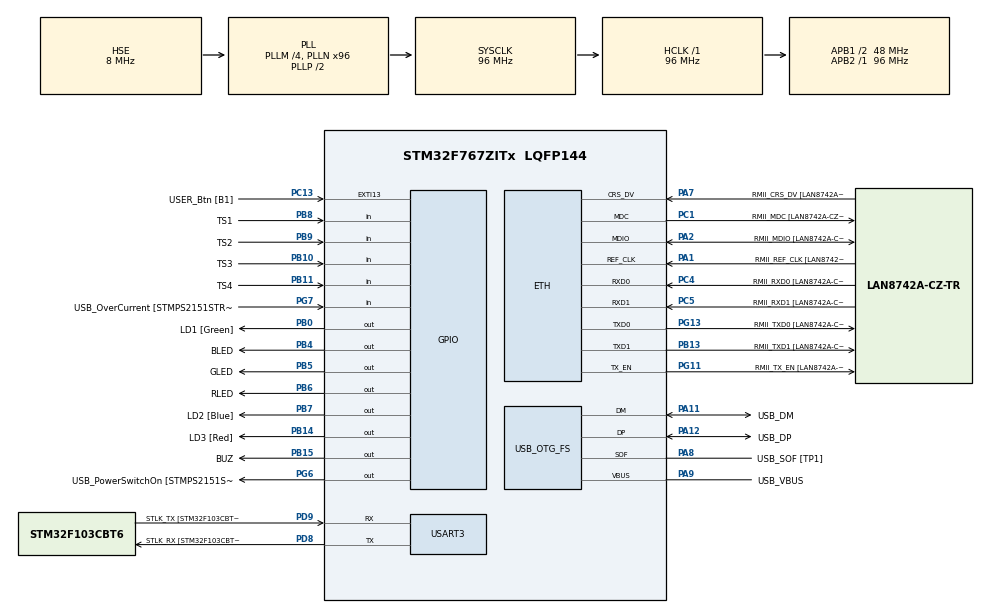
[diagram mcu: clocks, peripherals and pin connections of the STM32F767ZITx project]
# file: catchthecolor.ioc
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ETH.MediaInterface=HAL_ETH_RMII_MODE
ETH.PHY_Name=LAN8742A_PHY_ADDRESS
ETH.PHY_Value=0
ETH.PhyAddress=0
Mcu.Family=STM32F7
Mcu.Name=STM32F767ZITx
Mcu.Package=LQFP144
NVIC.PriorityGroup=NVIC_PRIORITYGROUP_4
PA1.GPIO_Label=RMII_REF_CLK [LAN8742A-CZ-TR_REFCLK0]
PA1.Mode=RMII
PA1.Signal=ETH_REF_CLK
PA10.GPIO_Label=USB_ID
PA10.Signal=USB_OTG_FS_ID
PA11.GPIO_Label=USB_DM
PA11.Mode=Device_Only
PA11.Signal=USB_OTG_FS_DM
PA12.GPIO_Label=USB_DP
PA12.Mode=Device_Only
PA12.Signal=USB_OTG_FS_DP
PA13.GPIO_Label=TMS
PA13.Mode=Serial_Wire
PA13.Signal=SYS_JTMS-SWDIO
PA14.GPIO_Label=TCK
PA14.Mode=Serial_Wire
PA14.Signal=SYS_JTCK-SWCLK
PA2.GPIO_Label=RMII_MDIO [LAN8742A-CZ-TR_MDIO]
PA2.Mode=RMII
PA2.Signal=ETH_MDIO
PA7.GPIO_Label=RMII_CRS_DV [LAN8742A-CZ-TR_CRS_DV]
PA7.Mode=RMII
PA7.Signal=ETH_CRS_DV
PA8.GPIO_Label=USB_SOF [TP1]
PA8.Mode=Activate_SOF_FS
PA8.Signal=USB_OTG_FS_SOF
PA9.GPIO_Label=USB_VBUS
PA9.Mode=Activate_VBUS
PA9.Signal=USB_OTG_FS_VBUS
PB0.GPIO_Label=LD1 [Green]
PB0.Signal=GPIO_Output
PB10.GPIO_Label=TS3
PB10.Signal=GPIO_Input
PB11.GPIO_Label=TS4
PB11.Signal=GPIO_Input
PB13.GPIO_Label=RMII_TXD1 [LAN8742A-CZ-TR_TXD1]
PB13.Mode=RMII
PB13.Signal=ETH_TXD1
PB14.GPIO_Label=LD3 [Red]
PB14.Signal=GPIO_Output
PB15.GPIO_Label=BUZ
PB15.Signal=GPIO_Output
PB3.GPIO_Label=SWO
PB3.Signal=SYS_JTDO-SWO
PB4.GPIO_Label=BLED
PB4.Signal=GPIO_Output
PB5.GPIO_Label=GLED
PB5.Signal=GPIO_Output
PB6.GPIO_Label=RLED
PB6.Signal=GPIO_Output
PB7.GPIO_Label=LD2 [Blue]
PB7.Signal=GPIO_Output
PB8.GPIO_Label=TS1
PB8.Signal=GPIO_Input
PB9.GPIO_Label=TS2
PB9.Signal=GPIO_Input
PC1.GPIO_Label=RMII_MDC [LAN8742A-CZ-TR_MDC]
PC1.Mode=RMII
PC1.Signal=ETH_MDC
PC13.GPIO_Label=USER_Btn [B1]
PC13.Signal=GPXTI13
PC14/OSC32_IN.Mode=LSE-External-Oscillator
PC14/OSC32_IN.Signal=RCC_OSC32_IN
PC15/OSC32_OUT.Mode=LSE-External-Oscillator
PC15/OSC32_OUT.Signal=RCC_OSC32_OUT
PC4.GPIO_Label=RMII_RXD0 [LAN8742A-CZ-TR_RXD0]
PC4.Mode=RMII
PC4.Signal=ETH_RXD0
PC5.GPIO_Label=RMII_RXD1 [LAN8742A-CZ-TR_RXD1]
PC5.Mode=RMII
PC5.Signal=ETH_RXD1
PD8.GPIO_Label=STLK_RX [STM32F103CBT6_PA3]
PD8.Mode=Asynchronous
PD8.Signal=USART3_TX
PD9.GPIO_Label=STLK_TX [STM32F103CBT6_PA2]
PD9.Mode=Asynchronous
PD9.Signal=USART3_RX
PG11.GPIO_Label=RMII_TX_EN [LAN8742A-CZ-TR_TXEN]
PG11.Mode=RMII
PG11.Signal=ETH_TX_EN
PG13.GPIO_Label=RMII_TXD0 [LAN8742A-CZ-TR_TXD0]
PG13.Mode=RMII
PG13.Signal=ETH_TXD0
PG6.GPIO_Label=USB_PowerSwitchOn [STMPS2151STR_EN]
PG6.Signal=GPIO_Output
PG7.GPIO_Label=USB_OverCurrent [STMPS2151STR_FAULT]
PG7.Signal=GPIO_Input
PH0/OSC_IN.GPIO_Label=MCO [STM32F103CBT6_PA8]
PH0/OSC_IN.Mode=HSE-External-Clock-Source
PH0/OSC_IN.Signal=RCC_OSC_IN
PH1/OSC_OUT.Mode=HSE-External-Clock-Source
PH1/OSC_OUT.Signal=RCC_OSC_OUT
ProjectManager.HeapSize=0x200
ProjectManager.StackSize=0x400
ProjectManager.TargetToolchain=STM32CubeIDE
RCC.48MHZClocksFreq_Value=24000000
RCC.AHBFreq_Value=96000000
RCC.APB1CLKDivider=RCC_HCLK_DIV2
RCC.APB1Freq_Value=48000000
RCC.APB1TimFreq_Value=96000000
RCC.APB2Freq_Value=96000000
RCC.APB2TimFreq_Value=96000000
RCC.CortexFreq_Value=96000000
RCC.HCLKFreq_Value=96000000
RCC.HSE_VALUE=8000000
RCC.HSI_VALUE=16000000
RCC.PLLM=4
RCC.PLLMUL=RCC_PLL_MUL9
RCC.PLLN=96
RCC.PLLQ=4
RCC.PRESCALERUSB=RCC_USBCLKSOURCE_PLL_DIV1_5
RCC.SYSCLKFreq_VALUE=96000000
RCC.SYSCLKSource=RCC_SYSCLKSOURCE_PLLCLK
RCC.SYSCLKSourceVirtual=RCC_SYSCLKSOURCE_PLLCLK
RCC.USBFreq_Value=48000000
RCC.VCOOutputFreq_Value=192000000
USART3.VirtualMode-Asynchronous=VM_ASYNC
USB_OTG_FS.VirtualMode=Device_Only
board=NUCLEO-F767ZI

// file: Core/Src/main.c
/* USER CODE BEGIN Header */
/**
  ******************************************************************************
  * @file           : main.c
  * @brief          : Main program body
  ******************************************************************************
  * @attention
  *
  * Copyright (c) 2025 STMicroelectronics.
  * All rights reserved.
  *
  * This software is licensed under terms that can be found in the LICENSE file
  * in the root directory of this software component.
  * If no LICENSE file comes with this software, it is provided AS-IS.
  *
  ******************************************************************************
  */
/* USER CODE END Header */
#include "main.h"
#include "string.h"

/* USER CODE BEGIN Includes */

#include "stm32f7xx.h"
#include "stdint.h"

/* USER CODE END Includes */

/* USER CODE BEGIN PTD */

uint16_t random_number;
uint16_t delay_time;
uint16_t count_number;
uint16_t control_number;

/* USER CODE END PTD */

/* USER CODE BEGIN PD */

#define PLL_M      16
#define PLL_N      192
#define PLL_P      2
#define PLL_Q      4

/* USER CODE END PD */

#if defined ( __ICCARM__ ) /*!< IAR Compiler */
#pragma location=0x2007c000
ETH_DMADescTypeDef  DMARxDscrTab[ETH_RX_DESC_CNT]; /* Ethernet Rx DMA Descriptors */
#pragma location=0x2007c0a0
ETH_DMADescTypeDef  DMATxDscrTab[ETH_TX_DESC_CNT]; /* Ethernet Tx DMA Descriptors */

#elif defined ( __CC_ARM )  /* MDK ARM Compiler */

__attribute__((at(0x2007c000))) ETH_DMADescTypeDef  DMARxDscrTab[ETH_RX_DESC_CNT]; /* Ethernet Rx DMA Descriptors */
__attribute__((at(0x2007c0a0))) ETH_DMADescTypeDef  DMATxDscrTab[ETH_TX_DESC_CNT]; /* Ethernet Tx DMA Descriptors */

#elif defined ( __GNUC__ ) /* GNU Compiler */

ETH_DMADescTypeDef DMARxDscrTab[ETH_RX_DESC_CNT] __attribute__((section(".RxDecripSection"))); /* Ethernet Rx DMA Descriptors */
ETH_DMADescTypeDef DMATxDscrTab[ETH_TX_DESC_CNT] __attribute__((section(".TxDecripSection")));   /* Ethernet Tx DMA Descriptors */
#endif

ETH_TxPacketConfig TxConfig;

ETH_HandleTypeDef heth;

UART_HandleTypeDef huart3;

PCD_HandleTypeDef hpcd_USB_OTG_FS;

void SystemClock_Config(void);
static void MX_GPIO_Init(void);
static void MX_ETH_Init(void);
static void MX_USART3_UART_Init(void);
static void MX_USB_OTG_FS_PCD_Init(void);

int main(void)
{

  /* MCU Configuration--------------------------------------------------------*/

  /* Reset of all peripherals, Initializes the Flash interface and the Systick. */
  HAL_Init();

  /* Configure the system clock */
  SystemClock_Config();

  /* Initialize all configured peripherals */
  MX_GPIO_Init();
  MX_ETH_Init();
  MX_USART3_UART_Init();
  MX_USB_OTG_FS_PCD_Init();
  /* USER CODE BEGIN 2 */

  RCC->PLLCFGR = (PLL_M<<RCC_PLLCFGR_PLLM_Pos) | (PLL_N << RCC_PLLCFGR_PLLN_Pos) | (((PLL_P >> 1) -1) << RCC_PLLCFGR_PLLP_Pos) | (PLL_Q << RCC_PLLCFGR_PLLQ_Pos);
  RCC->CR |= RCC_CR_PLLON;
  while((RCC->CR & RCC_CR_PLLRDY) == 0);

  RCC->AHB2ENR|=RCC_AHB2ENR_RNGEN;
  RNG->CR|=RNG_CR_RNGEN;

  /* USER CODE END 2 */

  /* Infinite loop */
  while (1)
  {

    /* USER CODE BEGIN 3 */

	  if(count_number <= 5)
	  {
		delay_time = 3000;
	  }
	  else if (count_number <=15)
	  {
		delay_time = 2000;
	  }
	  else if (count_number <= 30)
	  {
		delay_time = 1000;
	  }
	  else if (count_number <= 50)
	  {
		delay_time = 500;
	  }
	  else
	  {
	    HAL_GPIO_WritePin(RLED_GPIO_Port, RLED_Pin, 0);
	    HAL_GPIO_WritePin(GLED_GPIO_Port, GLED_Pin, 0);
	    HAL_GPIO_WritePin(RLED_GPIO_Port, BLED_Pin, 0);
	    HAL_Delay(100);
	    HAL_GPIO_WritePin(BUZ_GPIO_Port, BUZ_Pin, 1);
	    HAL_Delay(100);
	    HAL_GPIO_WritePin(BUZ_GPIO_Port, BUZ_Pin, 0);
	    HAL_GPIO_WritePin(RLED_GPIO_Port, RLED_Pin, 1);
	    HAL_GPIO_WritePin(GLED_GPIO_Port, GLED_Pin, 0);
	    HAL_GPIO_WritePin(RLED_GPIO_Port, BLED_Pin, 0);
	    HAL_Delay(100);
	    HAL_GPIO_WritePin(BUZ_GPIO_Port, BUZ_Pin, 1);
	    HAL_Delay(100);
	    HAL_GPIO_WritePin(BUZ_GPIO_Port, BUZ_Pin, 0);
	    HAL_GPIO_WritePin(RLED_GPIO_Port, RLED_Pin, 0);
	    HAL_GPIO_WritePin(GLED_GPIO_Port, GLED_Pin, 1);
	    HAL_GPIO_WritePin(RLED_GPIO_Port, BLED_Pin, 0);
	    HAL_Delay(100);
	    HAL_GPIO_WritePin(BUZ_GPIO_Port, BUZ_Pin, 1);
	    HAL_Delay(100);
	    HAL_GPIO_WritePin(BUZ_GPIO_Port, BUZ_Pin, 0);
	    HAL_GPIO_WritePin(RLED_GPIO_Port, RLED_Pin, 0);
	    HAL_GPIO_WritePin(GLED_GPIO_Port, GLED_Pin, 0);
	    HAL_GPIO_WritePin(RLED_GPIO_Port, BLED_Pin, 1);
	    HAL_Delay(100);
	    HAL_GPIO_WritePin(BUZ_GPIO_Port, BUZ_Pin, 1);
	    HAL_Delay(100);
	    HAL_GPIO_WritePin(BUZ_GPIO_Port, BUZ_Pin, 0);
	    HAL_GPIO_WritePin(RLED_GPIO_Port, RLED_Pin, 1);
	    HAL_GPIO_WritePin(GLED_GPIO_Port, GLED_Pin, 1);
	    HAL_GPIO_WritePin(RLED_GPIO_Port, BLED_Pin, 0);
	    HAL_Delay(100);
	    HAL_GPIO_WritePin(BUZ_GPIO_Port, BUZ_Pin, 1);
	    HAL_Delay(100);
	    HAL_GPIO_WritePin(BUZ_GPIO_Port, BUZ_Pin, 0);
	    HAL_GPIO_WritePin(RLED_GPIO_Port, RLED_Pin, 0);
	    HAL_GPIO_WritePin(GLED_GPIO_Port, GLED_Pin, 1);
	    HAL_GPIO_WritePin(RLED_GPIO_Port, BLED_Pin, 1);
	    HAL_Delay(100);
	    HAL_GPIO_WritePin(BUZ_GPIO_Port, BUZ_Pin, 1);
	    HAL_Delay(100);
	    HAL_GPIO_WritePin(BUZ_GPIO_Port, BUZ_Pin, 0);
	    HAL_GPIO_WritePin(RLED_GPIO_Port, RLED_Pin, 1);
	    HAL_GPIO_WritePin(GLED_GPIO_Port, GLED_Pin, 1);
	    HAL_GPIO_WritePin(RLED_GPIO_Port, BLED_Pin, 1);
	    HAL_Delay(100);
	    HAL_GPIO_WritePin(BUZ_GPIO_Port, BUZ_Pin, 1);
	    HAL_Delay(100);
	    HAL_GPIO_WritePin(BUZ_GPIO_Port, BUZ_Pin, 0);
	    HAL_GPIO_WritePin(RLED_GPIO_Port, RLED_Pin, 0);
	    HAL_GPIO_WritePin(GLED_GPIO_Port, GLED_Pin, 0);
	    HAL_GPIO_WritePin(RLED_GPIO_Port, BLED_Pin, 0);

	    while(1);
	  }

	  while((RNG->SR & RNG_SR_DRDY)==0);
	  random_number=RNG->DR;

	  if((random_number < 20000) && (random_number >= 4000))
		{
		  HAL_GPIO_WritePin(RLED_GPIO_Port, RLED_Pin, 1);
		  HAL_GPIO_WritePin(GLED_GPIO_Port, GLED_Pin, 0);
		  HAL_GPIO_WritePin(RLED_GPIO_Port, BLED_Pin, 0);
		  HAL_Delay(delay_time);

		  if((HAL_GPIO_ReadPin(TS1_GPIO_Port, TS1_Pin) == 1) && (HAL_GPIO_ReadPin(TS2_GPIO_Port, TS2_Pin) == 0) && (HAL_GPIO_ReadPin(TS3_GPIO_Port, TS3_Pin) == 0) && (HAL_GPIO_ReadPin(TS4_GPIO_Port, TS4_Pin) == 0))
		   {
		     HAL_GPIO_WritePin(BUZ_GPIO_Port, BUZ_Pin, 1);
		     HAL_Delay(100);
		     HAL_GPIO_WritePin(BUZ_GPIO_Port, BUZ_Pin, 0);
		     HAL_Delay(100);
		     HAL_GPIO_WritePin(BUZ_GPIO_Port, BUZ_Pin, 1);
		     HAL_Delay(100);
		     HAL_GPIO_WritePin(BUZ_GPIO_Port, BUZ_Pin, 0);
		     count_number++;
		   }
		  else
		   {
		    HAL_GPIO_WritePin(BUZ_GPIO_Port, BUZ_Pin, 1);
		    HAL_Delay(300);
		    HAL_GPIO_WritePin(BUZ_GPIO_Port, BUZ_Pin, 0);
		    count_number = 0;
		   }
		}
	  else if((random_number < 32000) && (random_number >= 20000))
		{
		  HAL_GPIO_WritePin(RLED_GPIO_Port, RLED_Pin, 0);
		  HAL_GPIO_WritePin(GLED_GPIO_Port, GLED_Pin, 1);
		  HAL_GPIO_WritePin(RLED_GPIO_Port, BLED_Pin, 0);
		  HAL_Delay(delay_time);

		  if((HAL_GPIO_ReadPin(TS1_GPIO_Port, TS1_Pin) == 0) && (HAL_GPIO_ReadPin(TS2_GPIO_Port, TS2_Pin) == 1) && (HAL_GPIO_ReadPin(TS3_GPIO_Port, TS3_Pin) == 0) && (HAL_GPIO_ReadPin(TS4_GPIO_Port, TS4_Pin) == 0))
		   {
			 HAL_GPIO_WritePin(BUZ_GPIO_Port, BUZ_Pin, 1);
			 HAL_Delay(100);
			 HAL_GPIO_WritePin(BUZ_GPIO_Port, BUZ_Pin, 0);
			 HAL_Delay(100);
			 HAL_GPIO_WritePin(BUZ_GPIO_Port, BUZ_Pin, 1);
			 HAL_Delay(100);
			 HAL_GPIO_WritePin(BUZ_GPIO_Port, BUZ_Pin, 0);
			 count_number++;
		   }
		  else
		   {
			HAL_GPIO_WritePin(BUZ_GPIO_Port, BUZ_Pin, 1);
			HAL_Delay(300);
			HAL_GPIO_WritePin(BUZ_GPIO_Port, BUZ_Pin, 0);
			count_number = 0;
		   }
		}
	  else if((random_number < 44000) && (random_number >= 32000))
		{
		  HAL_GPIO_WritePin(RLED_GPIO_Port, RLED_Pin, 0);
		  HAL_GPIO_WritePin(GLED_GPIO_Port, GLED_Pin, 0);
		  HAL_GPIO_WritePin(RLED_GPIO_Port, BLED_Pin, 1);
		  HAL_Delay(delay_time);

		  if((HAL_GPIO_ReadPin(TS1_GPIO_Port, TS1_Pin) == 0) && (HAL_GPIO_ReadPin(TS2_GPIO_Port, TS2_Pin) == 0) && (HAL_GPIO_ReadPin(TS3_GPIO_Port, TS3_Pin) == 1) && (HAL_GPIO_ReadPin(TS4_GPIO_Port, TS4_Pin) == 0))
		   {
			 HAL_GPIO_WritePin(BUZ_GPIO_Port, BUZ_Pin, 1);
			 HAL_Delay(100);
			 HAL_GPIO_WritePin(BUZ_GPIO_Port, BUZ_Pin, 0);
			 HAL_Delay(100);
			 HAL_GPIO_WritePin(BUZ_GPIO_Port, BUZ_Pin, 1);
			 HAL_Delay(100);
			 HAL_GPIO_WritePin(BUZ_GPIO_Port, BUZ_Pin, 0);
			 count_number++;
		   }
		  else
		   {
			HAL_GPIO_WritePin(BUZ_GPIO_Port, BUZ_Pin, 1);
			HAL_Delay(300);
			HAL_GPIO_WritePin(BUZ_GPIO_Port, BUZ_Pin, 0);
			count_number = 0;
		   }
		}
	  else if((random_number < 60000) && (random_number >= 44000))
		{
		  HAL_GPIO_WritePin(RLED_GPIO_Port, RLED_Pin, 1);
		  HAL_GPIO_WritePin(GLED_GPIO_Port, GLED_Pin, 1);
		  HAL_GPIO_WritePin(RLED_GPIO_Port, BLED_Pin, 1);
		  HAL_Delay(delay_time);

		  if((HAL_GPIO_ReadPin(TS1_GPIO_Port, TS1_Pin) == 0) && (HAL_GPIO_ReadPin(TS2_GPIO_Port, TS2_Pin) == 0) && (HAL_GPIO_ReadPin(TS3_GPIO_Port, TS3_Pin) == 0) && (HAL_GPIO_ReadPin(TS4_GPIO_Port, TS4_Pin) == 1))
		   {
			 HAL_GPIO_WritePin(BUZ_GPIO_Port, BUZ_Pin, 1);
			 HAL_Delay(100);
			 HAL_GPIO_WritePin(BUZ_GPIO_Port, BUZ_Pin, 0);
			 HAL_Delay(100);
			 HAL_GPIO_WritePin(BUZ_GPIO_Port, BUZ_Pin, 1);
			 HAL_Delay(100);
			 HAL_GPIO_WritePin(BUZ_GPIO_Port, BUZ_Pin, 0);
			 count_number++;
		   }
		  else
		   {
			HAL_GPIO_WritePin(BUZ_GPIO_Port, BUZ_Pin, 1);
			HAL_Delay(300);
			HAL_GPIO_WritePin(BUZ_GPIO_Port, BUZ_Pin, 0);
			count_number = 0;
		   }
		}
	  else
		{
		  HAL_GPIO_WritePin(RLED_GPIO_Port, RLED_Pin, 0);
		  HAL_GPIO_WritePin(GLED_GPIO_Port, GLED_Pin, 0);
		  HAL_GPIO_WritePin(RLED_GPIO_Port, BLED_Pin, 0);
		  HAL_Delay(delay_time);

		  if((HAL_GPIO_ReadPin(TS1_GPIO_Port, TS1_Pin) == 1) || (HAL_GPIO_ReadPin(TS2_GPIO_Port, TS2_Pin) == 1) || (HAL_GPIO_ReadPin(TS3_GPIO_Port, TS3_Pin) == 1) || (HAL_GPIO_ReadPin(TS4_GPIO_Port, TS4_Pin) == 1))
		   {
			HAL_GPIO_WritePin(BUZ_GPIO_Port, BUZ_Pin, 1);
			HAL_Delay(300);
			HAL_GPIO_WritePin(BUZ_GPIO_Port, BUZ_Pin, 0);
			count_number = 0;
		   }
		  else
		  {
			 HAL_GPIO_WritePin(BUZ_GPIO_Port, BUZ_Pin, 1);
			 HAL_Delay(100);
			 HAL_GPIO_WritePin(BUZ_GPIO_Port, BUZ_Pin, 0);
			 HAL_Delay(100);
			 HAL_GPIO_WritePin(BUZ_GPIO_Port, BUZ_Pin, 1);
			 HAL_Delay(100);
			 HAL_GPIO_WritePin(BUZ_GPIO_Port, BUZ_Pin, 0);
			 count_number++;
		  }
		}

  }
  /* USER CODE END 3 */
}

void SystemClock_Config(void)
{
  RCC_OscInitTypeDef RCC_OscInitStruct = {0};
  RCC_ClkInitTypeDef RCC_ClkInitStruct = {0};

  /** Configure LSE Drive Capability
  */
  HAL_PWR_EnableBkUpAccess();

  /** Configure the main internal regulator output voltage
  */
  __HAL_RCC_PWR_CLK_ENABLE();
  __HAL_PWR_VOLTAGESCALING_CONFIG(PWR_REGULATOR_VOLTAGE_SCALE3);

  /** Initializes the RCC Oscillators according to the specified parameters
  * in the RCC_OscInitTypeDef structure.
  */
  RCC_OscInitStruct.OscillatorType = RCC_OSCILLATORTYPE_HSE;
  RCC_OscInitStruct.HSEState = RCC_HSE_BYPASS;
  RCC_OscInitStruct.PLL.PLLState = RCC_PLL_ON;
  RCC_OscInitStruct.PLL.PLLSource = RCC_PLLSOURCE_HSE;
  RCC_OscInitStruct.PLL.PLLM = 4;
  RCC_OscInitStruct.PLL.PLLN = 96;
  RCC_OscInitStruct.PLL.PLLP = RCC_PLLP_DIV2;
  RCC_OscInitStruct.PLL.PLLQ = 4;
  RCC_OscInitStruct.PLL.PLLR = 2;
  if (HAL_RCC_OscConfig(&RCC_OscInitStruct) != HAL_OK)
  {
    Error_Handler();
  }

  /** Activate the Over-Drive mode
  */
  if (HAL_PWREx_EnableOverDrive() != HAL_OK)
  {
    Error_Handler();
  }

  /** Initializes the CPU, AHB and APB buses clocks
  */
  RCC_ClkInitStruct.ClockType = RCC_CLOCKTYPE_HCLK|RCC_CLOCKTYPE_SYSCLK
                              |RCC_CLOCKTYPE_PCLK1|RCC_CLOCKTYPE_PCLK2;
  RCC_ClkInitStruct.SYSCLKSource = RCC_SYSCLKSOURCE_PLLCLK;
  RCC_ClkInitStruct.AHBCLKDivider = RCC_SYSCLK_DIV1;
  RCC_ClkInitStruct.APB1CLKDivider = RCC_HCLK_DIV2;
  RCC_ClkInitStruct.APB2CLKDivider = RCC_HCLK_DIV1;

  if (HAL_RCC_ClockConfig(&RCC_ClkInitStruct, FLASH_LATENCY_3) != HAL_OK)
  {
    Error_Handler();
  }
}

static void MX_ETH_Init(void)
{

   static uint8_t MACAddr[6];

  heth.Instance = ETH;
  MACAddr[0] = 0x00;
  MACAddr[1] = 0x80;
  MACAddr[2] = 0xE1;
  MACAddr[3] = 0x00;
  MACAddr[4] = 0x00;
  MACAddr[5] = 0x00;
  heth.Init.MACAddr = &MACAddr[0];
  heth.Init.MediaInterface = HAL_ETH_RMII_MODE;
  heth.Init.TxDesc = DMATxDscrTab;
  heth.Init.RxDesc = DMARxDscrTab;
  heth.Init.RxBuffLen = 1524;

  if (HAL_ETH_Init(&heth) != HAL_OK)
  {
    Error_Handler();
  }

  memset(&TxConfig, 0 , sizeof(ETH_TxPacketConfig));
  TxConfig.Attributes = ETH_TX_PACKETS_FEATURES_CSUM | ETH_TX_PACKETS_FEATURES_CRCPAD;
  TxConfig.ChecksumCtrl = ETH_CHECKSUM_IPHDR_PAYLOAD_INSERT_PHDR_CALC;
  TxConfig.CRCPadCtrl = ETH_CRC_PAD_INSERT;

}

static void MX_USART3_UART_Init(void)
{

  huart3.Instance = USART3;
  huart3.Init.BaudRate = 115200;
  huart3.Init.WordLength = UART_WORDLENGTH_8B;
  huart3.Init.StopBits = UART_STOPBITS_1;
  huart3.Init.Parity = UART_PARITY_NONE;
  huart3.Init.Mode = UART_MODE_TX_RX;
  huart3.Init.HwFlowCtl = UART_HWCONTROL_NONE;
  huart3.Init.OverSampling = UART_OVERSAMPLING_16;
  huart3.Init.OneBitSampling = UART_ONE_BIT_SAMPLE_DISABLE;
  huart3.AdvancedInit.AdvFeatureInit = UART_ADVFEATURE_NO_INIT;
  if (HAL_UART_Init(&huart3) != HAL_OK)
  {
    Error_Handler();
  }

}

static void MX_USB_OTG_FS_PCD_Init(void)
{

  hpcd_USB_OTG_FS.Instance = USB_OTG_FS;
  hpcd_USB_OTG_FS.Init.dev_endpoints = 6;
  hpcd_USB_OTG_FS.Init.speed = PCD_SPEED_FULL;
  hpcd_USB_OTG_FS.Init.dma_enable = DISABLE;
  hpcd_USB_OTG_FS.Init.phy_itface = PCD_PHY_EMBEDDED;
  hpcd_USB_OTG_FS.Init.Sof_enable = ENABLE;
  hpcd_USB_OTG_FS.Init.low_power_enable = DISABLE;
  hpcd_USB_OTG_FS.Init.lpm_enable = DISABLE;
  hpcd_USB_OTG_FS.Init.vbus_sensing_enable = ENABLE;
  hpcd_USB_OTG_FS.Init.use_dedicated_ep1 = DISABLE;
  if (HAL_PCD_Init(&hpcd_USB_OTG_FS) != HAL_OK)
  {
    Error_Handler();
  }

}

static void MX_GPIO_Init(void)
{
  GPIO_InitTypeDef GPIO_InitStruct = {0};

  /* GPIO Ports Clock Enable */
  __HAL_RCC_GPIOC_CLK_ENABLE();
  __HAL_RCC_GPIOH_CLK_ENABLE();
  __HAL_RCC_GPIOA_CLK_ENABLE();
  __HAL_RCC_GPIOB_CLK_ENABLE();
  __HAL_RCC_GPIOD_CLK_ENABLE();
  __HAL_RCC_GPIOG_CLK_ENABLE();

  /*Configure GPIO pin Output Level */
  HAL_GPIO_WritePin(GPIOB, LD1_Pin|LD3_Pin|BUZ_Pin|BLED_Pin
                          |GLED_Pin|RLED_Pin|LD2_Pin, GPIO_PIN_RESET);

  /*Configure GPIO pin Output Level */
  HAL_GPIO_WritePin(USB_PowerSwitchOn_GPIO_Port, USB_PowerSwitchOn_Pin, GPIO_PIN_RESET);

  /*Configure GPIO pin : USER_Btn_Pin */
  GPIO_InitStruct.Pin = USER_Btn_Pin;
  GPIO_InitStruct.Mode = GPIO_MODE_IT_RISING;
  GPIO_InitStruct.Pull = GPIO_NOPULL;
  HAL_GPIO_Init(USER_Btn_GPIO_Port, &GPIO_InitStruct);

  /*Configure GPIO pins : LD1_Pin LD3_Pin BUZ_Pin BLED_Pin
                           GLED_Pin RLED_Pin LD2_Pin */
  GPIO_InitStruct.Pin = LD1_Pin|LD3_Pin|BUZ_Pin|BLED_Pin
                          |GLED_Pin|RLED_Pin|LD2_Pin;
  GPIO_InitStruct.Mode = GPIO_MODE_OUTPUT_PP;
  GPIO_InitStruct.Pull = GPIO_NOPULL;
  GPIO_InitStruct.Speed = GPIO_SPEED_FREQ_LOW;
  HAL_GPIO_Init(GPIOB, &GPIO_InitStruct);

  /*Configure GPIO pins : TS3_Pin TS4_Pin TS1_Pin TS2_Pin */
  GPIO_InitStruct.Pin = TS3_Pin|TS4_Pin|TS1_Pin|TS2_Pin;
  GPIO_InitStruct.Mode = GPIO_MODE_INPUT;
  GPIO_InitStruct.Pull = GPIO_NOPULL;
  HAL_GPIO_Init(GPIOB, &GPIO_InitStruct);

  /*Configure GPIO pin : USB_PowerSwitchOn_Pin */
  GPIO_InitStruct.Pin = USB_PowerSwitchOn_Pin;
  GPIO_InitStruct.Mode = GPIO_MODE_OUTPUT_PP;
  GPIO_InitStruct.Pull = GPIO_NOPULL;
  GPIO_InitStruct.Speed = GPIO_SPEED_FREQ_LOW;
  HAL_GPIO_Init(USB_PowerSwitchOn_GPIO_Port, &GPIO_InitStruct);

  /*Configure GPIO pin : USB_OverCurrent_Pin */
  GPIO_InitStruct.Pin = USB_OverCurrent_Pin;
  GPIO_InitStruct.Mode = GPIO_MODE_INPUT;
  GPIO_InitStruct.Pull = GPIO_NOPULL;
  HAL_GPIO_Init(USB_OverCurrent_GPIO_Port, &GPIO_InitStruct);

}

void Error_Handler(void)
{
  __disable_irq();
  while (1)
  {
  }
}
